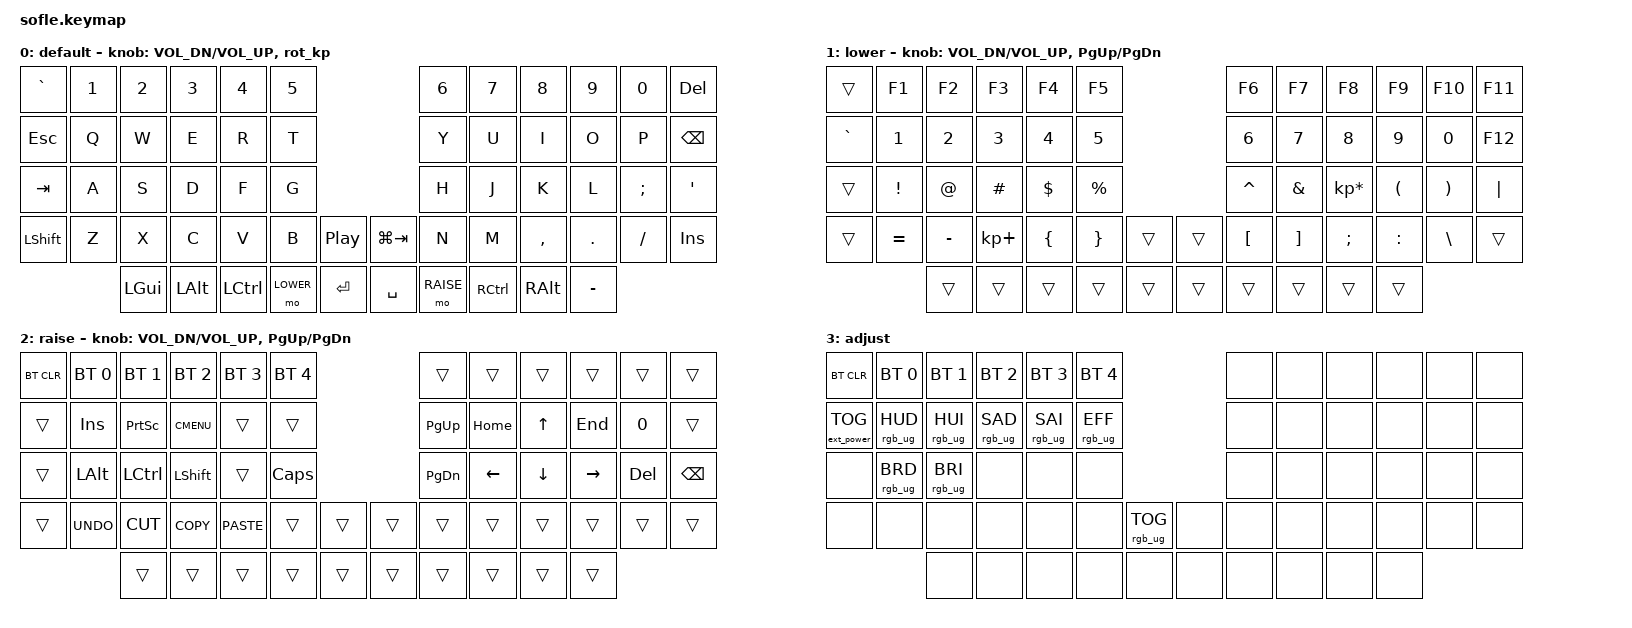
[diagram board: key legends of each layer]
/*
 * Copyright (c) 2020 The ZMK Contributors
 *
 * SPDX-License-Identifier: MIT
 */

#include <behaviors.dtsi>
#include <dt-bindings/zmk/bt.h>
#include <dt-bindings/zmk/ext_power.h>
#include <dt-bindings/zmk/keys.h>
#include <dt-bindings/zmk/rgb.h>

#define BASE 0
#define LOWER 1
#define RAISE 2
#define ADJUST 3

#define MOUSE_KEYS 4
#define MOUSE_TP 5
#define MOUSE_TP_SET 6


#include <dt-bindings/led/led.h>

&pinctrl {
    spi3_default: spi3_default {
        group1 {
            psels = <NRF_PSEL(SPIM_MOSI, 0, 6)>;
        };
    };

    spi3_sleep: spi3_sleep {
        group1 {
            psels = <NRF_PSEL(SPIM_MOSI, 0, 6)>;
            low-power-enable;
        };
    };
};

&spi3 {
    compatible = "nordic,nrf-spim";
    status = "okay";

    pinctrl-0 = <&spi3_default>;
    pinctrl-1 = <&spi3_sleep>;
    pinctrl-names = "default", "sleep";

    led_strip: ws2812@0 {
        compatible = "worldsemi,ws2812-spi";

        /* SPI */
        reg = <0>; /* ignored, but necessary for SPI bindings */
        spi-max-frequency = <4000000>;

        /* WS2812 */
        chain-length = <30>; /* number of LEDs */
        spi-one-frame = <0x70>;
        spi-zero-frame = <0x40>;
        
        color-mapping = <
                LED_COLOR_ID_GREEN
                LED_COLOR_ID_RED
                LED_COLOR_ID_BLUE
        >;
  };
};
/ {
	chosen {
		zmk,underglow = &led_strip;
	};
};


/*
 * Defines to enable/disable features
 *
 * These defines allow us to conditionally enable and disable parts of the keymap config.
 *
 * For example, if we decide to build the firmware without the mouse features, we can
 * disable all the config options that rely on those forks and modules without having
 * to edit the entire keymap file manually every time.
 */

#define HAS_MOUSE_KEYS
#define HAS_MOUSE_TP

#ifdef HAS_MOUSE_KEYS
  #include <dt-bindings/zmk/mouse.h>
  #include <behaviors/mouse_keys.dtsi>
#endif  // HAS_MOUSE_KEYS

#ifdef HAS_MOUSE_TP
  // We store the trackpoint settings in a separate file
  // to make organization a little easier.
  #include "include/mouse_tp.dtsi"
#endif  // HAS_MOUSE_TP



// Adjust layer keys based on enabled features.
//
// This prevents build errors when we build the firmware
// without the mouse keys PR or the TP module.
#ifdef HAS_MOUSE_KEYS
  #define U_THUMB_INNER &mo MOUSE_KEYS
#else
  #define U_THUMB_INNER &none
#endif  // HAS_MOUSE_KEYS

#ifdef HAS_MOUSE_TP
  #define U_TOG_TP_SET &tog MOUSE_TP_SET
#else
  #define U_TOG_TP_SET &none
#endif  // HAS_MOUSE_TP

/ {
    macros {
        wleft: wleft {
            compatible = "zmk,behavior-macro";
            #binding-cells = <0>;
            bindings
                = <&macro_press &kp LGUI>, <&macro_press &kp LCTRL>
                , <&macro_tap &kp LEFT>
                , <&macro_release &kp LGUI>,<&macro_release &kp LCTRL>
                ;
        };
        wright: wright {
            compatible = "zmk,behavior-macro";
            #binding-cells = <0>;
            bindings
                = <&macro_press &kp LGUI>, <&macro_press &kp LCTRL>
                , <&macro_tap &kp RIGHT>
                , <&macro_release &kp LGUI>,<&macro_release &kp LCTRL>
                ;
        };
    };

    behaviors {
        rot_kp: sensor_rotate_kp {
            compatible = "zmk,behavior-sensor-rotate";
            #sensor-binding-cells = <0>;
            bindings = <&wleft>, <&wright>;
        };
    };

    // Activate ADJUST layer by pressing raise and lower

    conditional_layers {
        compatible = "zmk,conditional-layers";

        adjust_layer {
            if-layers = <LOWER RAISE>;
            then-layer = <ADJUST>;
        };
    };

    keymap {
        compatible = "zmk,keymap";

        default_layer {
            label = "default";

            // ------------------------------------------------------------------------------------------------------------
            // |   `   |  1  |  2  |  3   |  4   |  5   |                   |  6   |  7    |  8    |  9   |   0   |       |
            // |  ESC  |  Q  |  W  |  E   |  R   |  T   |                   |  Y   |  U    |  I    |  O   |   P   | BKSPC |
            // |  TAB  |  A  |  S  |  D   |  F   |  G   |                   |  H   |  J    |  K    |  L   |   ;   |   '   |
            // | SHIFT |  Z  |  X  |  C   |  V   |  B   | PAUSE  |  |       |  N   |  M    |  ,    |  .   |   /   |  INS  |
            //               | GUI | ALT  | CTRL | LOWER|  ENTER |  | SPACE | RAISE| CTRL  | ALT   |  -   |

            bindings = <
&kp GRAVE  &kp N1  &kp N2    &kp N3    &kp N4     &kp N5                                    &kp N6     &kp N7     &kp N8     &kp N9    &kp N0    &kp DELETE
&kp ESC    &kp Q   &kp W     &kp E     &kp R      &kp T                                     &kp Y      &kp U      &kp I      &kp O     &kp P     &kp BSPC
&kp TAB    &kp A   &kp S     &kp D     &kp F      &kp G                                     &kp H      &kp J      &kp K      &kp L     &kp SEMI  &kp SQT
&kp LSHFT  &kp Z   &kp X     &kp C     &kp V      &kp B      &kp C_PLAY_PAUSE &kp LG(TAB) &kp N      &kp M      &kp COMMA  &kp DOT   &kp FSLH  &kp INS
                   &kp LGUI  &kp LALT  &kp LCTRL  &mo LOWER  &kp RET          &kp SPACE  &mo RAISE  &kp RCTRL  &kp RALT   &kp MINUS
            >;

            sensor-bindings = <&inc_dec_kp C_VOL_DN C_VOL_UP &rot_kp>;
        };

        lower_layer {
            label = "lower";

            // TODO: Some binds are waiting for shifted keycode support.
            // ------------------------------------------------------------------------------------------------------------
            // |       |  F1 |  F2 |  F3  |  F4  |  F5  |                   |  F6  |  F7   |  F8   |  F9  |  F10  |  F11  |
            // |   `   |  1  |  2  |  3   |  4   |  5   |                   |  6   |  7    |  8    |  9   |   0   |  F12  |
            // |       |  !  |  @  |  #   |  $   |  %   |                   |  ^   |  &    |  *    |  (   |   )   |   |   |
            // |       |  =  |  -  |  +   |  {   |  }   |        |  |       |  [   |  ]    |  ;    |  :   |   \   |       |
            //               |     |      |      |      |        |  |       |      |       |       |      |

            bindings = <
&trans     &kp F1     &kp F2     &kp F3       &kp F4    &kp F5                       &kp F6     &kp F7    &kp F8           &kp F9     &kp F10   &kp F11
&kp GRAVE  &kp N1     &kp N2     &kp N3       &kp N4    &kp N5                       &kp N6     &kp N7    &kp N8           &kp N9     &kp N0    &kp F12
&trans     &kp EXCL   &kp AT     &kp HASH     &kp DLLR  &kp PRCNT                    &kp CARET  &kp AMPS  &kp KP_MULTIPLY  &kp LPAR   &kp RPAR  &kp PIPE
&trans     &kp EQUAL  &kp MINUS  &kp KP_PLUS  &kp LBRC  &kp RBRC   &trans    &trans  &kp LBKT   &kp RBKT  &kp SEMI         &kp COLON  &kp BSLH  &trans
                      &trans     &trans       &trans    &trans     &trans    &trans  &trans     &trans    &trans           &trans
            >;

            sensor-bindings = <&inc_dec_kp C_VOL_DN C_VOL_UP &inc_dec_kp PG_UP PG_DN>;
        };

        raise_layer {
            label = "raise";

            // ------------------------------------------------------------------------------------------------------------
            // | BTCLR | BT1  | BT2  |  BT3  |  BT4  |  BT5 |                |      |      |       |      |       |       |
            // |       | INS  | PSCR | GUI   |       |      |                | PGUP | HOM  |   ^   |      |  END  |       |
            // |       | ALT  | CTRL | SHIFT |       | CAPS |                | PGDN |   <- |   v   |  ->  |  DEL  | BKSPC |
            // |       | UNDO | CUT  | COPY  | PASTE |      |      |  |      |      |      |       |      |       |       |
            //                |      |       |       |      |      |  |      |      |      |       |      |

            bindings = <
&bt BT_CLR  &bt BT_SEL 0  &bt BT_SEL 1  &bt BT_SEL 2  &bt BT_SEL 3  &bt BT_SEL 4                    &trans     &trans    &trans    &trans     &trans   &trans
&trans      &kp INS       &kp PSCRN     &kp K_CMENU   &trans        &trans                          &kp PG_UP  &kp HOME  &kp UP    &kp END    &kp N0   &trans
&trans      &kp LALT      &kp LCTRL     &kp LSHFT     &trans        &kp CLCK                        &kp PG_DN  &kp LEFT  &kp DOWN  &kp RIGHT  &kp DEL  &kp BSPC
&trans      &kp K_UNDO    &kp K_CUT     &kp K_COPY    &kp K_PASTE   &trans        &trans    &trans  &trans     &trans    &trans    &trans     &trans   &trans
                          &trans        &trans        &trans        &trans        &trans    &trans  &trans     &trans    &trans    &trans
            >;

            sensor-bindings = <&inc_dec_kp C_VOL_DN C_VOL_UP &inc_dec_kp PG_UP PG_DN>;
        };

        adjust_layer {
            // ----------------------------------------------------------------------------------------------------------------------------
            // | BTCLR  |  BT1    |  BT2    |   BT3   |   BT4   |   BT5   |                  |      |      |       |      |       |       |
            // | EXTPWR | RGB_HUD | RGB_HUI | RGB_SAD | RGB_SAI | RGB_EFF |                  |      |      |       |      |       |       |
            // |        | RGB_BRD | RGB_BRI |         |         |         |                  |      |      |       |      |       |       |
            // |        |         |         |         |         |         | RGB_TOG | |      |      |      |       |      |       |       |
            //                    |         |         |         |         |         | |      |      |      |       |      |

            label = "adjust";
            bindings = <
&bt BT_CLR         &bt BT_SEL 0     &bt BT_SEL 1     &bt BT_SEL 2     &bt BT_SEL 3     &bt BT_SEL 4                               &none  &none  &none  &none  &none  &none
&ext_power EP_TOG  &rgb_ug RGB_HUD  &rgb_ug RGB_HUI  &rgb_ug RGB_SAD  &rgb_ug RGB_SAI  &rgb_ug RGB_EFF                            &none  &none  &none  &none  &none  &none
&none              &rgb_ug RGB_BRD  &rgb_ug RGB_BRI  &none            &none            &none                                      &none  &none  &none  &none  &none  &none
&none              &none            &none            &none            &none            &none            &rgb_ug RGB_TOG    &none  &none  &none  &none  &none  &none  &none
                                    &none            &none            &none            &none            &none              &none  &none  &none  &none  &none
            >;
        };
    };
};
